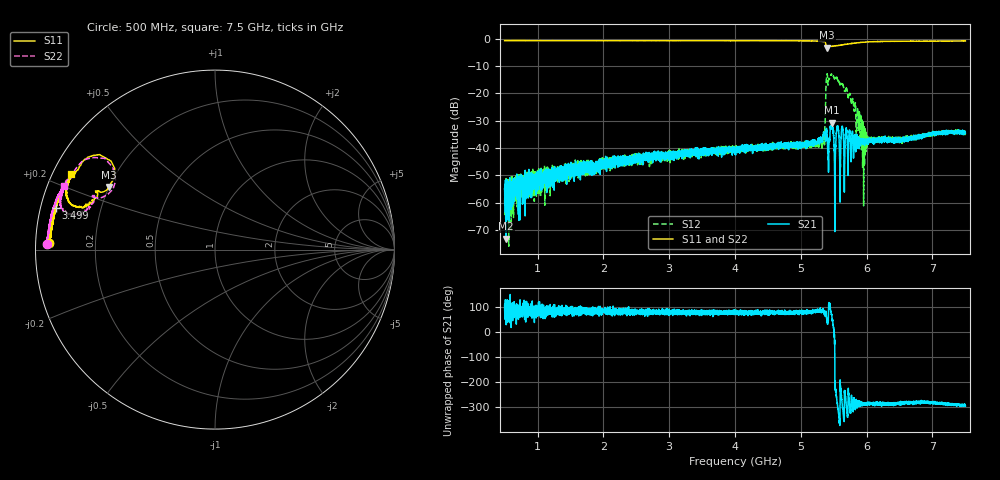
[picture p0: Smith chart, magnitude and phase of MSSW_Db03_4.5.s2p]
!Keysight Technologies,M9374A,MY55442783,A.12.55.05
!Date: Wednesday, May 19, 2021 15:53:10
!Correction: S11(Full 2 Port(1,2))
!S21(Full 2 Port(1,2))
!S12(Full 2 Port(1,2))
!S22(Full 2 Port(1,2))
!S2P File: Measurements: S11, S21, S12, S22:
# Hz S  RI  R 50
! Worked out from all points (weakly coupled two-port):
!   7001 points, 500 MHz to 7.5 GHz, reference 50 ohm
!   highest |S21| = -30.77 dB at 5.473 GHz (marker M1); lowest = -73.2 dB at 525 MHz (marker M2)
!   lowest |S11| = -3.3 dB at 5.397 GHz (marker M3), VSWR 5.34, Z = 10 + j13.2 ohm
!   |S11| at or under -10 dB: nowhere
!   |S22| runs from -3.6 to -0.5 dB; largest |S21 - S12| = 0.23
!   S11 on the Smith chart (normalised r, x): 500 MHz: 0.04, +0.02; 3.499 GHz: 0.04, +0.13; 7.5 GHz: 0.05, +0.24
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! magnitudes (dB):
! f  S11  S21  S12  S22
! 500 MHz  -0.7  -55.1  -60.2  -0.5
! 525 MHz  -0.7  -73.2  -56.6  -0.6
! 880 MHz  -0.7  -52.4  -53.0  -0.6
! 1.667 GHz  -0.7  -48.6  -49.1  -0.6
! 2.834 GHz  -0.7  -43.4  -43.2  -0.6
! 3.499 GHz  -0.8  -41.5  -42.0  -0.6
! 4 GHz  -0.8  -40.4  -41.0  -0.7
! 5.167 GHz  -0.9  -38.4  -39.0  -0.7
! 5.334 GHz  -1.0  -35.9  -36.6  -0.9
! 5.369 GHz  -1.2  -34.9  -30.7  -1.2
! 5.397 GHz  -3.3  -33.6  -13.0  -3.2
! 5.417 GHz  -2.8  -43.3  -15.3  -2.6
! 5.473 GHz  -2.9  -30.8  -13.2  -2.8
! 5.511 GHz  -2.6  -47.3  -14.7  -2.6
! 5.556 GHz  -2.6  -32.5  -15.4  -2.5
! 5.688 GHz  -2.1  -33.4  -17.9  -2.0
! 5.71 GHz  -2.0  -40.5  -20.2  -1.9
! 5.738 GHz  -1.9  -33.6  -20.5  -1.8
! 5.767 GHz  -1.8  -41.5  -23.8  -1.7
! 5.972 GHz  -1.3  -37.7  -32.9  -1.1
! 6.334 GHz  -1.0  -36.8  -36.0  -0.9
! 7.5 GHz  -0.9  -34.7  -34.0  -0.8
